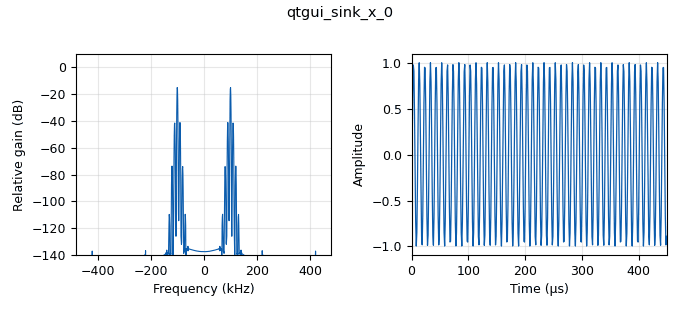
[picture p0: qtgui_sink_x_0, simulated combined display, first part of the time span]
<?xml version='1.0' encoding='utf-8'?>
<?grc format='1' created='3.7.11'?>
<flow_graph>
<block>
<key>options</key>
<param><key>id</key><value>top_block</value></param>
<param><key>generate_options</key><value>qt_gui</value></param>
</block>
<block>
<key>variable</key>
<param><key>id</key><value>samp_rate</value></param>
<param><key>value</key><value>960000</value></param>
</block>
<block>
<key>variable_qtgui_range</key>
<param><key>id</key><value>sens</value></param>
<param><key>value</key><value>5</value></param>
<param><key>label</key><value>sens</value></param>
<param><key>orient</key><value>Qt.Horizontal</value></param>
<param><key>start</key><value>1</value></param>
<param><key>step</key><value>10</value></param>
<param><key>stop</key><value>100000</value></param>
</block>
<block>
<key>analog_phase_modulator_fc</key>
<param><key>id</key><value>analog_phase_modulator_fc_0</value></param>
<param><key>sensitivity</key><value>62800+sens</value></param>
</block>
<block>
<key>analog_sig_source_x</key>
<param><key>id</key><value>analog_sig_source_x_0</value></param>
<param><key>amp</key><value>1</value></param>
<param><key>freq</key><value>1e4</value></param>
<param><key>offset</key><value>0</value></param>
<param><key>type</key><value>float</value></param>
<param><key>samp_rate</key><value>samp_rate</value></param>
<param><key>waveform</key><value>analog.GR_COS_WAVE</value></param>
</block>
<block>
<key>analog_sig_source_x</key>
<param><key>id</key><value>analog_sig_source_x_0_0</value></param>
<param><key>amp</key><value>1</value></param>
<param><key>freq</key><value>100000</value></param>
<param><key>offset</key><value>0</value></param>
<param><key>type</key><value>complex</value></param>
<param><key>samp_rate</key><value>samp_rate</value></param>
<param><key>waveform</key><value>analog.GR_COS_WAVE</value></param>
</block>
<block>
<key>blocks_complex_to_real</key>
<param><key>id</key><value>blocks_complex_to_real_0</value></param>
</block>
<block>
<key>blocks_multiply_xx</key>
<param><key>id</key><value>blocks_multiply_xx_0</value></param>
<param><key>type</key><value>complex</value></param>
</block>
<block>
<key>blocks_throttle</key>
<param><key>id</key><value>blocks_throttle_0</value></param>
<param><key>samples_per_second</key><value>48e3</value></param>
<param><key>type</key><value>float</value></param>
</block>
<block>
<key>iir_filter_xxx</key>
<param><key>id</key><value>iir_filter_xxx_0</value></param>
<param><key>fftaps</key><value>[1e-7]</value></param>
<param><key>fbtaps</key><value>[1,1]</value></param>
<param><key>type</key><value>ffd</value></param>
</block>
<block>
<key>qtgui_sink_x</key>
<param><key>id</key><value>qtgui_sink_x_0</value></param>
<param><key>bw</key><value>samp_rate</value></param>
<param><key>fc</key><value>0</value></param>
<param><key>freqchangevar</key><value>None</value></param>
<param><key>fftsize</key><value>1024</value></param>
<param><key>showports</key><value>True</value></param>
<param><key>type</key><value>float</value></param>
<param><key>wintype</key><value>firdes.WIN_BLACKMAN_hARRIS</value></param>
</block>
<connection><source_block_id>analog_phase_modulator_fc_0</source_block_id><sink_block_id>blocks_multiply_xx_0</sink_block_id><source_key>0</source_key><sink_key>0</sink_key></connection>
<connection><source_block_id>analog_sig_source_x_0</source_block_id><sink_block_id>iir_filter_xxx_0</sink_block_id><source_key>0</source_key><sink_key>0</sink_key></connection>
<connection><source_block_id>analog_sig_source_x_0_0</source_block_id><sink_block_id>blocks_multiply_xx_0</sink_block_id><source_key>0</source_key><sink_key>1</sink_key></connection>
<connection><source_block_id>blocks_complex_to_real_0</source_block_id><sink_block_id>blocks_throttle_0</sink_block_id><source_key>0</source_key><sink_key>0</sink_key></connection>
<connection><source_block_id>blocks_multiply_xx_0</source_block_id><sink_block_id>blocks_complex_to_real_0</sink_block_id><source_key>0</source_key><sink_key>0</sink_key></connection>
<connection><source_block_id>blocks_throttle_0</source_block_id><sink_block_id>qtgui_sink_x_0</sink_block_id><source_key>0</source_key><sink_key>0</sink_key></connection>
<connection><source_block_id>iir_filter_xxx_0</source_block_id><sink_block_id>analog_phase_modulator_fc_0</sink_block_id><source_key>0</source_key><sink_key>0</sink_key></connection>
</flow_graph>
